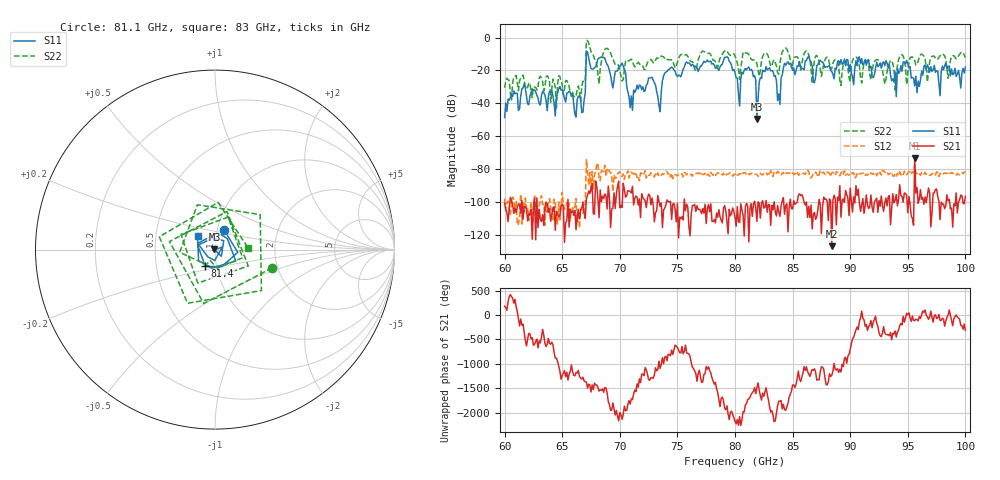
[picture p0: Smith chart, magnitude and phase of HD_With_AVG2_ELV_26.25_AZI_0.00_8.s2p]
! 11/25/2026 10:13:37 AM
! C:\ANRITSUVNA\TEMP\TEMP.S2P
! CHANNEL.1
! TR.MEASUREMENT
! RAW.DATA
# HZ S RI R 50.0
! FREQ.HZ  S11RE  S11IM  S21RE  S21IM  S12RE  S12IM  S22RE  S22IM
!; PortSelection: Port_12
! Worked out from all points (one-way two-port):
!   401 points, 60 GHz to 100 GHz, reference 50 ohm
!   highest |S21| = -73.59 dB at 95.6 GHz (marker M1); lowest = -127.0 dB at 88.4 GHz (marker M2)
!   lowest |S11| = -49.6 dB at 81.9 GHz (marker M3), VSWR 1.01, Z = 49.7 + j0.0705 ohm
!   |S11| at or under -10 dB: start of sweep to 67.09 GHz; 67.23 GHz to end of sweep
!   |S22| runs from -42.8 to -1.7 dB; largest |S21 - S12| = 0.00023
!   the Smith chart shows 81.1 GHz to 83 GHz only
!   S11 on the Smith chart (normalised r, x): 81.1 GHz: 1.08, +0.24; 81.4 GHz: 0.88, -0.17; 83 GHz: 0.82, +0.12
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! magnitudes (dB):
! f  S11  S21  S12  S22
! 60 GHz  -48.6  -100.8  -98.0  -30.5
! 61.6 GHz  -30.6  -110.7  -100.6  -22.8
! 66.7 GHz  -45.7  -104.0  -104.6  -29.5
! 67.3 GHz  -12.1  -93.4  -90.0  -3.2
! 68.4 GHz  -11.8  -99.9  -81.0  -14.7
! 70.3 GHz  -17.5  -88.6  -83.0  -25.5
! 70.9 GHz  -42.6  -93.6  -82.3  -13.5
! 72.7 GHz  -24.4  -101.8  -82.3  -13.3
! 73.4 GHz  -41.2  -99.7  -84.0  -12.6
! 74.4 GHz  -18.6  -99.7  -84.9  -13.4
! 80 GHz  -21.2  -109.3  -83.2  -11.1
! 81.1 GHz  -18.4  -102.3  -83.1  -9.5
! 81.4 GHz  -19.3  -101.1  -82.7  -13.1
! 81.9 GHz  -49.6  -111.9  -83.4  -15.9
! 83 GHz  -18.3  -101.9  -83.7  -14.6
! 83.8 GHz  -34.3  -106.3  -82.1  -22.3
! 84.4 GHz  -16.7  -102.2  -83.3  -6.2
! 86.7 GHz  -17.5  -116.5  -84.3  -28.0
! 88.4 GHz  -20.6  -127.0  -82.2  -18.8
! 93.4 GHz  -16.3  -96.2  -83.1  -15.6
! 95.6 GHz  -29.4  -73.6  -77.7  -14.0
! 100 GHz  -17.9  -96.6  -81.7  -12.1
